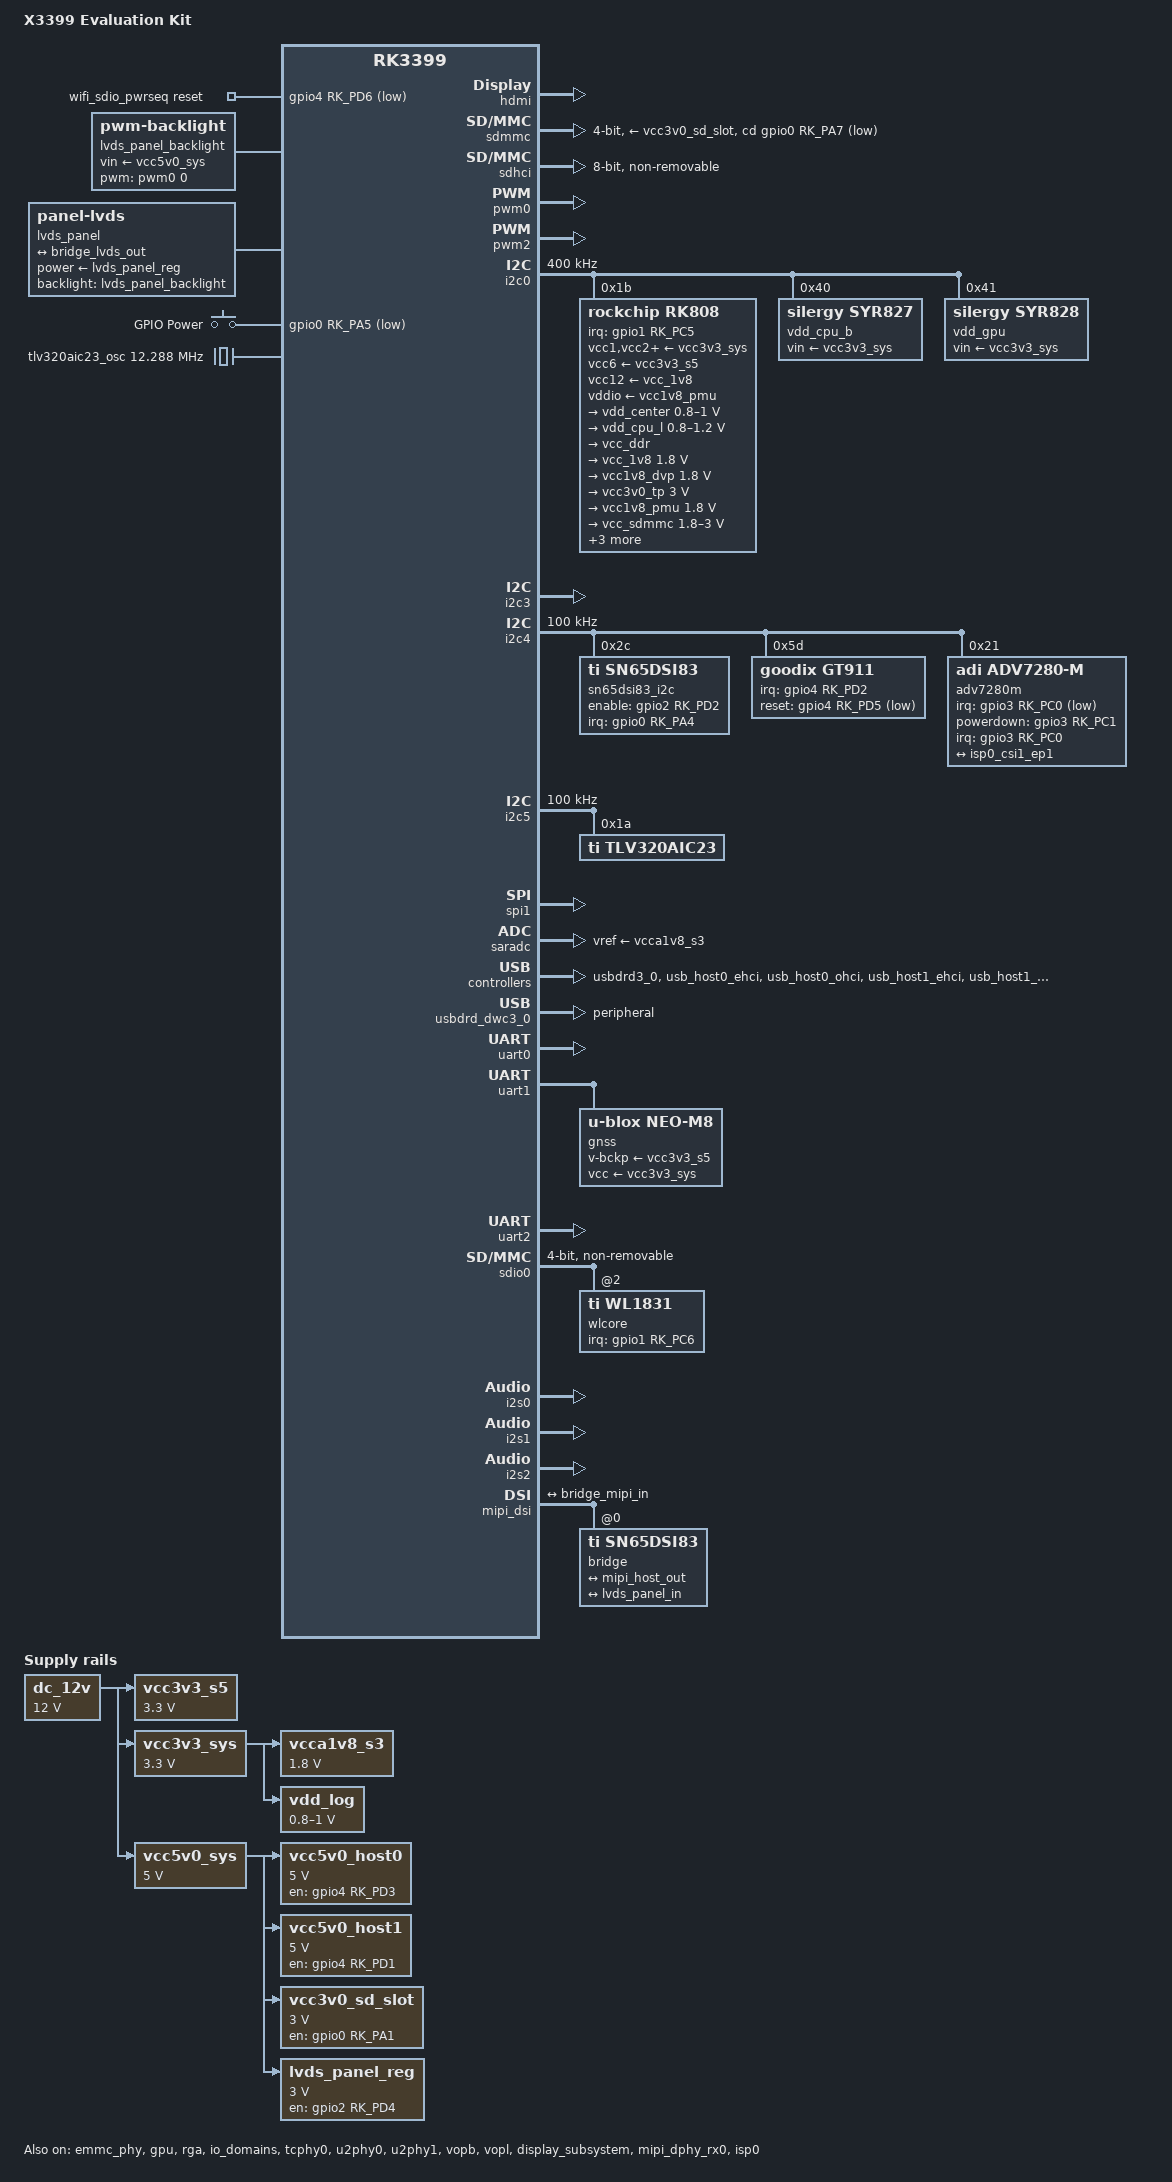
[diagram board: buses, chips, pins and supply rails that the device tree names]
// SPDX-License-Identifier: (GPL-2.0+ OR MIT)
/*
 * Copyright (C) Oleksii Gulchenko <alexey.gulchenko@gmail.com>
 */

/dts-v1/;
#include <dt-bindings/pwm/pwm.h>
#include <dt-bindings/input/input.h>
#include <dt-bindings/display/drm_mipi_dsi.h>

#include "rk3399.dtsi"
#include "rk3399-opp.dtsi"

#include "x3399-evk-android-fstab.dtsi"

/ {
    model = "X3399 Evaluation Kit";
    compatible = "rockchip,x3399-evk", "rockchip,rk3399";

    /* Board input voltage */
    dc_12v: in-12v {
        compatible = "regulator-fixed";
        regulator-name = "IN_12V";
        regulator-always-on;
        regulator-boot-on;
        regulator-min-microvolt = <12000000>;
        regulator-max-microvolt = <12000000>;
    };

    /* Standby supply 3.3v */
    vcc3v3_s5: vcc3v3-s5 {
        compatible = "regulator-fixed";
        regulator-name = "VCC3V3_S5";
        regulator-always-on;
        regulator-boot-on;
        regulator-min-microvolt = <3300000>;
        regulator-max-microvolt = <3300000>;
        vin-supply = <&dc_12v>;
    };

    vcc3v3_sys: vcc3v3-sys {
        compatible = "regulator-fixed";
        regulator-name = "VCC3V3_SYS";
        regulator-always-on;
        regulator-boot-on;
        regulator-min-microvolt = <3300000>;
        regulator-max-microvolt = <3300000>;
        vin-supply = <&dc_12v>;
    };

    vcc5v0_sys: vcc5v0-sys {
        compatible = "regulator-fixed";
        regulator-name = "VCC5V0_SYS";
        regulator-always-on;
        regulator-boot-on;
        regulator-min-microvolt = <5000000>;
        regulator-max-microvolt = <5000000>;
        vin-supply = <&dc_12v>;
    };

    /* switched by pmic_sleep */
    vcca1v8_s3: vcca1v8-s3 {
        compatible = "regulator-fixed";
        regulator-name = "VCCA1V8_S3";
        regulator-always-on;
        regulator-boot-on;
        regulator-min-microvolt = <1800000>;
        regulator-max-microvolt = <1800000>;
        vin-supply = <&vcc3v3_sys>;
    };

    vdd_log: vdd-logic {
        compatible = "pwm-regulator";
        pwms = <&pwm2 0 25000 1>;
        regulator-name = "VDD_LOGIC";
        regulator-always-on;
        regulator-boot-on;
        regulator-min-microvolt = <800000>;
        regulator-max-microvolt = <1000000>;
        vin-supply = <&vcc3v3_sys>;

        /* for rockchip boot on */
        rockchip,pwm_id= <2>;
        rockchip,pwm_voltage = <900000>;
    };

    vcc5v0_host0: usb-host0-5v0-supply {
        compatible = "regulator-fixed";
        regulator-name = "VCC_5V0_USB_HOST0";
        regulator-min-microvolt = <5000000>;
        regulator-max-microvolt = <5000000>;
        gpio = <&gpio4 RK_PD3 GPIO_ACTIVE_HIGH>;
        vin-supply = <&vcc5v0_sys>;
        enable-active-high;
    };

    vcc5v0_host1: usb-host1-5v0-supply {
        compatible = "regulator-fixed";
        regulator-name = "VCC_5V0_USB_HOST1";
        regulator-min-microvolt = <5000000>;
        regulator-max-microvolt = <5000000>;
        gpio = <&gpio4 RK_PD1 GPIO_ACTIVE_HIGH>;
        vin-supply = <&vcc5v0_sys>;
        enable-active-high;
    };

    vcc3v0_sd_slot: sd-card-3v0-supply {
        compatible = "regulator-fixed";
        regulator-name = "VCC_3V0_SDCARD";
        regulator-min-microvolt = <3000000>;
        regulator-max-microvolt = <3000000>;
        gpio = <&gpio0 RK_PA1 GPIO_ACTIVE_HIGH>;
        vin-supply = <&vcc5v0_sys>;
        enable-active-high;
    };

    wifi_sdio_pwrseq: wifi-sdio-pwrseq {
        compatible = "mmc-pwrseq-simple";
        clocks = <&rk808 1>;
        clock-names = "ext_clock";
        pinctrl-names = "default";
        pinctrl-0 = <&wifi_en_gpio>;
        reset-gpios = <&gpio4 RK_PD6 GPIO_ACTIVE_LOW>;
    };

    lvds_panel_reg: lvds-panel-reg {
        compatible = "regulator-fixed";
        regulator-name = "LVDS_PANEL_REG";
        regulator-boot-on;
        regulator-always-on;
        regulator-min-microvolt = <3000000>;
        regulator-max-microvolt = <3000000>;
        gpio = <&gpio2 RK_PD4 GPIO_ACTIVE_HIGH>;
        vin-supply = <&vcc5v0_sys>;
        enable-active-high;
    };

/* ------------------------------------------------------------------ */
    lvds_panel_backlight: lvds-backlight {
        compatible = "pwm-backlight";
        pwms = <&pwm0 0 25000 0>;
        vin-supply = <&vcc5v0_sys>;
        brightness-levels = <
              0   1   2   3   4   5   6   7   8   9  10  11  12  13  14  15
             16  17  18  19  20  21  22  23  24  25  26  27  28  29  30  31
             32  33  34  35  36  37  38  39  40  41  42  43  44  45  46  47
             48  49  50  51  52  53  54  55  56  57  58  59  60  61  62  63
             64  65  66  67  68  69  70  71  72  73  74  75  76  77  78  79
             80  81  82  83  84  85  86  87  88  89  90  91  92  93  94  95
             96  97  98  99 100 101 102 103 104 105 106 107 108 109 110 111
            112 113 114 115 116 117 118 119 120 121 122 123 124 125 126 127
            128 129 130 131 132 133 134 135 136 137 138 139 140 141 142 143
            144 145 146 147 148 149 150 151 152 153 154 155 156 157 158 159
            160 161 162 163 164 165 166 167 168 169 170 171 172 173 174 175
            176 177 178 179 180 181 182 183 184 185 186 187 188 189 190 191
            192 193 194 195 196 197 198 199 200 201 202 203 204 205 206 207
            208 209 210 211 212 213 214 215 216 217 218 219 220 221 222 223
            224 225 226 227 228 229 230 231 232 233 234 235 236 237 238 239
            240 241 242 243 244 245 246 247 248 249 250 251 252 253 254 255>;
        default-brightness-level = <200>;
    };

    lvds_panel {
        compatible = "panel-lvds";
        status = "okay";

        backlight = <&lvds_panel_backlight>;
        power-supply = <&lvds_panel_reg>;

        width-mm = <176>;
        height-mm = <99>;
        data-mapping = "jeida-24";

        panel-timing {
            clock-frequency = <60000000>;
            hactive = <1024>;
            vactive = <600>;
            hback-porch = <160>;
            hfront-porch = <160>;
            vback-porch = <17>;
            vfront-porch = <17>;
            hsync-len = <4>;
            vsync-len = <1>;
            hsync-active = <0>;
            vsync-active = <0>;
            de-active = <1>;
            pixelclk-active = <0>;
        };

        port {
            lvds_panel_in: endpoint {
                remote-endpoint = <&bridge_lvds_out>;
            };
        };
    };

/* ------------------------------------------------------------------ */
    keys: gpio-keys {
        compatible = "gpio-keys";
        autorepeat;

        power {
            debounce-interval = <100>;
            gpios = <&gpio0 RK_PA5 GPIO_ACTIVE_LOW>;
            label = "GPIO Power";
            linux,code = <KEY_POWER>;
            linux,input-type = <1>;
            wakeup-source;
        };
    };

/* ------------------------------------------------------------------ */
    tlv320aic23_osc: tlv320aic23_osc {
        compatible = "fixed-clock";
        clock-frequency = <12288000>;
        clock-output-names = "tlv320aic23";
        #clock-cells = <0>;
    };

    tlv320aic23_sound {
        compatible = "simple-audio-card";
        simple-audio-card,name = "tlv320aic23";
        simple-audio-card,format = "i2s";
        simple-audio-card,frame-master = <&clock_master>;
        simple-audio-card,bitclock-master = <&clock_master>;

        simple-audio-card,widgets =
            "Microphone", "Mic Jack",
            "Headphone", "Headphone Jack";

        simple-audio-card,routing =
            "MICIN", "Mic Jack",
            "Headphone Jack", "LHPOUT",
            "Headphone Jack", "RHPOUT";

        clock_master: simple-audio-card,codec {
            sound-dai = <&tlv320aic23>;
            clocks = <&tlv320aic23_osc>;
        };

        simple-audio-card,cpu {
            sound-dai = <&i2s0>;
        };
    };
};

&cpu_l0 {
    cpu-supply = <&vdd_cpu_l>;
};

&cpu_l1 {
    cpu-supply = <&vdd_cpu_l>;
};

&cpu_l2 {
    cpu-supply = <&vdd_cpu_l>;
};

&cpu_l3 {
    cpu-supply = <&vdd_cpu_l>;
};

&cpu_b0 {
    cpu-supply = <&vdd_cpu_b>;
};

&cpu_b1 {
    cpu-supply = <&vdd_cpu_b>;
};

//&dfi {
//  status = "okay";
//};

//&dmc {
//  status = "okay";
//  center-supply = <&vdd_center>;
//  upthreshold = <60>;
//  downdifferential = <40>;
//};

&emmc_phy {
    status = "okay";
};

&gpu {
    mali-supply = <&vdd_gpu>;
    status = "okay";
};

&rga {
    status = "okay";
};

&hdmi {
    ddc-i2c-bus = <&i2c3>;

    #address-cells = <1>;
    #size-cells = <0>;
    #sound-dai-cells = <0>;
    status = "okay";
};

&sdmmc {
    pinctrl-names = "default";
    pinctrl-0 = <&sdmmc_clk &sdmmc_cmd &sdmmc_bus4 &sdmmc_cd>;

    bus-width = <4>;
    cap-mmc-highspeed;
    cap-sd-highspeed;
    sd-uhs-sdr12;
    sd-uhs-sdr25;
    max-frequency = <25000000>;
    vmmc-supply = <&vcc3v0_sd_slot>;
    vqmmc-supply = <&vcc_sdmmc>;

    cd-gpios = <&gpio0 RK_PA7 GPIO_ACTIVE_LOW>;

    disable-wp;
    status = "okay";
};

&sdhci {
    assigned-clock-rates = <150000000>;
    bus-width = <8>;
    mmc-hs400-1_8v;
    mmc-hs400-enhanced-strobe;
    non-removable;
    status = "okay";
};

&pwm0 {
    status = "okay";
};

&pwm2 {
    status = "okay";
};

&pmu_io_domains {
    status = "okay";

    pmu1830-supply = <&vcc_1v8>;        /* PMUIO2_VDD */
};

&io_domains {
    status = "okay";

    bt656-supply = <&vcc_1v8>;          /* APIO2_VDD */
    audio-supply = <&vcca1v8_codec>;    /* APIO5_VDD */
    sdmmc-supply = <&vcc3v0_sd_slot>;   /* SDMMC0_VDD */
    gpio1830-supply = <&vcc_3v0>;       /* APIO4_VDD */
};

&i2c0 {
    clock-frequency = <400000>;
    i2c-scl-rising-time-ns = <168>;
    i2c-scl-falling-time-ns = <4>;
    status = "okay";

    rk808: pmic@1b {
        compatible = "rockchip,rk808";
        reg = <0x1b>;
        interrupt-parent = <&gpio1>;
        interrupts = <RK_PC5 IRQ_TYPE_LEVEL_LOW>;
        #clock-cells = <1>;
        clock-output-names = "xin32k", "rk808-clkout2";
        pinctrl-names = "default";
        pinctrl-0 = <&pmic_int_l &pmic_dvs2>;
        rockchip,system-power-controller;
        wakeup-source;

        vcc1-supply = <&vcc3v3_sys>;
        vcc2-supply = <&vcc3v3_sys>;
        vcc3-supply = <&vcc3v3_sys>;
        vcc4-supply = <&vcc3v3_sys>;
        vcc6-supply = <&vcc3v3_s5>;
        vcc7-supply = <&vcc3v3_sys>;
        vcc8-supply = <&vcc3v3_sys>;
        vcc9-supply = <&vcc3v3_sys>;
        vcc10-supply = <&vcc3v3_sys>;
        vcc11-supply = <&vcc3v3_sys>;
        vcc12-supply = <&vcc_1v8>;
        vddio-supply = <&vcc1v8_pmu>;

        regulators {
            vdd_center: DCDC_REG1 {
                regulator-name = "VDD_CENTER";
                regulator-always-on;
                regulator-boot-on;
                regulator-min-microvolt = <800000>;
                regulator-max-microvolt = <1000000>;
                regulator-ramp-delay = <6001>;
                regulator-state-mem {
                    regulator-off-in-suspend;
                };
            };

            vdd_cpu_l: DCDC_REG2 {
                regulator-name = "VDD_CPU_L";
                regulator-always-on;
                regulator-boot-on;
                regulator-min-microvolt = <800000>;
                regulator-max-microvolt = <1200000>;
                regulator-ramp-delay = <6001>;
                regulator-state-mem {
                    regulator-off-in-suspend;
                };
            };

            vcc_ddr: DCDC_REG3 {
                regulator-name = "VCC_DDR";
                regulator-always-on;
                regulator-boot-on;
                regulator-state-mem {
                    regulator-on-in-suspend;
                };
            };

            vcc_1v8: DCDC_REG4 {
                regulator-name = "VCC_1V8";
                regulator-always-on;
                regulator-boot-on;
                regulator-min-microvolt = <1800000>;
                regulator-max-microvolt = <1800000>;
                regulator-state-mem {
                    regulator-on-in-suspend;
                    regulator-suspend-microvolt = <1800000>;
                };
            };

            vcc1v8_dvp: LDO_REG1 {
                regulator-name = "VCC_1V8_DVP";
                regulator-always-on;
                regulator-boot-on;
                regulator-min-microvolt = <1800000>;
                regulator-max-microvolt = <1800000>;
                regulator-state-mem {
                    regulator-off-in-suspend;
                };
            };

            vcc3v0_tp: LDO_REG2 {
                regulator-name = "VCC_3V0_TP";
                regulator-always-on;
                regulator-boot-on;
                regulator-min-microvolt = <3000000>;
                regulator-max-microvolt = <3000000>;
                regulator-state-mem {
                    regulator-off-in-suspend;
                };
            };

            vcc1v8_pmu: LDO_REG3 {
                regulator-name = "VCC_1V8_PMU";
                regulator-always-on;
                regulator-boot-on;
                regulator-min-microvolt = <1800000>;
                regulator-max-microvolt = <1800000>;
                regulator-state-mem {
                    regulator-on-in-suspend;
                    regulator-suspend-microvolt = <1800000>;
                };
            };

            vcc_sdmmc: LDO_REG4 {
                regulator-name = "VCC_SDMMC";
                regulator-always-on;
                regulator-boot-on;
                regulator-min-microvolt = <1800000>;
                regulator-max-microvolt = <3000000>;
                regulator-state-mem {
                    regulator-on-in-suspend;
                    regulator-suspend-microvolt = <3000000>;
                };
            };

            vcca3v0_codec: LDO_REG5 {
                regulator-name = "VCCA_3V0_CODEC";
                regulator-always-on;
                regulator-boot-on;
                regulator-min-microvolt = <3000000>;
                regulator-max-microvolt = <3000000>;
                regulator-state-mem {
                    regulator-off-in-suspend;
                };
            };

            vcc_1v5: LDO_REG6 {
                regulator-name = "VCC_1V5";
                regulator-always-on;
                regulator-boot-on;
                regulator-min-microvolt = <1500000>;
                regulator-max-microvolt = <1500000>;
                regulator-state-mem {
                    regulator-on-in-suspend;
                    regulator-suspend-microvolt = <1500000>;
                };
            };

            vcca1v8_codec: LDO_REG7 {
                regulator-name = "VCCA_1V8_CODEC";
                regulator-always-on;
                regulator-boot-on;
                regulator-min-microvolt = <1800000>;
                regulator-max-microvolt = <1800000>;
                regulator-state-mem {
                    regulator-off-in-suspend;
                };
            };

            vcc_3v0: LDO_REG8 {
                regulator-name = "VCC_3V0";
                regulator-always-on;
                regulator-boot-on;
                regulator-min-microvolt = <3000000>;
                regulator-max-microvolt = <3000000>;
                regulator-state-mem {
                    regulator-on-in-suspend;
                    regulator-suspend-microvolt = <3000000>;
                };
            };

            vcc3v3_s3: vcc_lan: SWITCH_REG1 {
                regulator-name = "VCC_3V3_S3";
                regulator-always-on;
                regulator-boot-on;
                regulator-state-mem {
                    regulator-off-in-suspend;
                };
            };

            vcc3v3_s0: SWITCH_REG2 {
                regulator-name = "VCC_3V3_S0";
                regulator-always-on;
                regulator-boot-on;
                regulator-state-mem {
                    regulator-off-in-suspend;
                };
            };
        };
    };

    vdd_cpu_b: regulator@40 {
        compatible = "silergy,syr827";
        reg = <0x40>;
        fcs,suspend-voltage-selector = <1>;
        regulator-name = "VDD_CPU_B";
        regulator-min-microvolt = <800000>;
        regulator-max-microvolt = <1250000>;
        regulator-ramp-delay = <1000>;
        regulator-always-on;
        regulator-boot-on;
        vin-supply = <&vcc3v3_sys>;

        regulator-state-mem {
            regulator-off-in-suspend;
        };
    };

    vdd_gpu: regulator@41 {
        compatible = "silergy,syr828";
        reg = <0x41>;
        fcs,suspend-voltage-selector = <1>;
        regulator-name = "VDD_GPU";
        regulator-min-microvolt = <800000>;
        regulator-max-microvolt = <1200000>;
        regulator-ramp-delay = <1000>;
        regulator-always-on;
        regulator-boot-on;
        vin-supply = <&vcc3v3_sys>;

        regulator-state-mem {
            regulator-off-in-suspend;
        };
    };
};

&i2c3 {
    status = "okay";
};

&i2c4 {
    status = "okay";
    clock-frequency = <100000>;

    sn65dsi83_i2c: dsi-lvds-bridge@2c {
        compatible = "ti,sn65dsi83";
        reg = <0x2c>;
        enable-gpios = <&gpio2 RK_PD2 GPIO_ACTIVE_HIGH>;
        interrupt-parent = <&gpio0>;
        interrupts = <RK_PA4 IRQ_TYPE_EDGE_RISING>;
    };

    gt911@5d {
        compatible = "goodix,gt911";
        reg = <0x5d>;

        pinctrl-names = "default";
        pinctrl-0 = <&gt911_reset_gpio>;

        interrupt-parent = <&gpio4>;
        interrupts = <RK_PD2 IRQ_TYPE_EDGE_RISING>;
        irq-gpios = <&gpio4 RK_PD2 GPIO_ACTIVE_HIGH>;
        reset-gpio = <&gpio4 RK_PD5 GPIO_ACTIVE_LOW>;
    };

    adv7280m@21 {
        compatible = "adi,adv7280-m";
        reg = <0x21>;

        pinctrl-names = "default";
        pinctrl-0 = <&adv7280_en_gpio>;

        interrupt-parent = <&gpio3>;
        interrupts = <RK_PC0 IRQ_TYPE_EDGE_FALLING>;
        irq-gpios = <&gpio3 RK_PC0 GPIO_ACTIVE_LOW>;
        powerdown-gpios = <&gpio3 RK_PC1 GPIO_ACTIVE_HIGH>;

        port {
            adv7280m_out: endpoint {
                clock-lanes = <0>;
                data-lanes = <1>;
                remote-endpoint = <&isp0_csi1_ep1>;
            };
        };
    };
};

&i2c5 {
    status = "okay";
    clock-frequency = <100000>;

    tlv320aic23: codec@1a {
        compatible = "ti,tlv320aic23";
        reg = <0x1a>;
        #sound-dai-cells= <0>;
        status = "okay";
    };
};

&pinctrl {
    pmic {
        pmic_int_l: pmic-int-l {
            rockchip,pins = <1 RK_PC5 RK_FUNC_GPIO &pcfg_pull_up>;
        };

        pmic_dvs2: pmic-dvs2 {
            rockchip,pins = <1 RK_PC2 RK_FUNC_GPIO &pcfg_pull_down>;
        };

        vsel1_gpio: vsel1-gpio {
            rockchip,pins = <1 RK_PC1 RK_FUNC_GPIO &pcfg_pull_down>;
        };

        vsel2_gpio: vsel2-gpio {
            rockchip,pins = <1 RK_PB6 RK_FUNC_GPIO &pcfg_pull_down>;
        };
    };

    wireless {
        wifi_en_gpio: wifi-en-gpio {
            rockchip,pins = <4 RK_PD6 GPIO_ACTIVE_HIGH &pcfg_pull_none>;
        };

        bt_en_gpio: bt-en-gpio {
            rockchip,pins = <4 RK_PD4 GPIO_ACTIVE_HIGH &pcfg_pull_none>;
        };

        wlan_host_wake_irq: wlan-host-wake-irq {
            rockchip,pins = <1 RK_PC6 RK_FUNC_GPIO &pcfg_pull_none>;
        };
    };

    display {
        lvds_en_gpio: lvds-en-gpio {
            rockchip,pins = <2 RK_PD4 GPIO_ACTIVE_HIGH &pcfg_pull_down>;
        };

        sn65dsi83_en_gpio: sn65dsi83-en-gpio {
            rockchip,pins = <2 RK_PD2 GPIO_ACTIVE_HIGH &pcfg_pull_down>;
        };
    };

    sdcard {
        vcc3v0_sd_gpio: vcc3v0-sd-gpio {
            rockchip,pins = <0 RK_PA1 GPIO_ACTIVE_HIGH &pcfg_pull_down>;
        };
    };

    touchscreen {
        gt911_reset_gpio: gt911-reset-gpio {
            rockchip,pins = <4 RK_PD5 GPIO_ACTIVE_LOW &pcfg_pull_up>;
        };
    };

    usb_hosts {
        vcc5v0_host0_gpio: vcc5v0-host0-gpio {
            rockchip,pins = <4 RK_PD3 GPIO_ACTIVE_HIGH &pcfg_pull_down>;
        };

        vcc5v0_host1_gpio: vcc5v0-host1-gpio {
            rockchip,pins = <4 RK_PD1 GPIO_ACTIVE_HIGH &pcfg_pull_down>;
        };
    };

    adv7280 {
        adv7280_en_gpio: adv7280-en-gpio {
            rockchip,pins = <3 RK_PC1 GPIO_ACTIVE_HIGH &pcfg_pull_down>;
        };
    };
};

&spi1 {
    status = "okay";
};

&saradc {
    vref-supply = <&vcca1v8_s3>;
    status = "okay";
};

/* USB -------------------------------------------------------------- */
&usbdrd3_0 {
    status = "okay";
};

&usbdrd_dwc3_0 {
    dr_mode = "peripheral";
    status = "okay";
};

&tcphy0 {
    status = "okay";
};

&u2phy0 {
    status = "okay";

    u2phy0_host: host-port {
        phy-supply = <&vcc5v0_host0>;
        status = "okay";
    };
};

&u2phy1 {
    status = "okay";

    u2phy1_host: host-port {
        phy-supply = <&vcc5v0_host1>;
        status = "okay";
    };
};

&usb_host0_ehci {
    status = "okay";
};

&usb_host0_ohci {
    status = "okay";
};

&usb_host1_ehci {
    status = "okay";
};

&usb_host1_ohci {
    status = "okay";
};

/* VOPx  ------------------------------------------------------------ */
&vopb {
    status = "okay";
};

&vopb_mmu {
    status = "okay";
};

&vopl {
    status = "okay";
};

&vopl_mmu {
    status = "okay";
};

&vpu_mmu {
    status = "okay";
};

/* UART -------------------------------------------------------------- */
&uart0 {
    pinctrl-names = "default";
    pinctrl-0 = <&uart0_xfer &uart0_rts &uart0_cts>;
    status = "okay";
};

&uart1 {
    pinctrl-names = "default";
    pinctrl-0 = <&uart1_xfer>;
    status = "okay";

    gnss {
        compatible = "u-blox,neo-m8";
        current-speed = <9600>;
        v-bckp-supply = <&vcc3v3_s5>;
        vcc-supply = <&vcc3v3_sys>;
    };
};

&uart2 {
    status = "okay";
};

/* SDIO -------------------------------------------------------------- */
&sdio0 {
    status = "okay";

    #address-cells = <1>;
    #size-cells = <0>;

    mmc-pwrseq = <&wifi_sdio_pwrseq>;

    pinctrl-names = "default";
    pinctrl-0 = <&sdio0_bus4 &sdio0_cmd &sdio0_clk>;

    bus-width = <4>;
    cap-sdio-irq;
    cap-sd-highspeed;
    cap-power-off-card;
    keep-power-in-suspend;
    non-removable;
    broken-cd;
    no-sd;
    no-mmc;
    disable-wp;

    clock-frequency = <52000000>;

    wlcore: wlcore@0 {
        compatible = "ti,wl1831";
        reg = <2>;
        interrupt-parent = <&gpio1>;
        interrupts = <RK_PC6 IRQ_TYPE_EDGE_RISING>;
        interrupt-names = "wlan-host-wake";
        pinctrl-names = "default";
        pinctrl-0 = <&wlan_host_wake_irq>;
    };
};

/* I2S -------------------------------------------------------------- */
&i2s0 {
    #sound-dai-cells = <0>;
    status = "okay";

    pinctrl-names = "default";
    pinctrl-0 = <&i2s0_8ch_bus>;

    rockchip,playback-channels = <2>;
    rockchip,capture-channels = <2>;
};

&i2s1 {
    #sound-dai-cells = <0>;
    status = "okay";
};

&i2s2 {
    #sound-dai-cells = <0>;
    status = "okay";
};

/* ------------------------------------------------------------------ */
&display_subsystem {
    status = "okay";

    route {
        route_hdmi: route-hdmi {
            connect = <&vopb_out_hdmi>;
        };

        route_mipi: route-mipi {
            connect = <&vopb_out_mipi>;
        };
    };
};

&mipi_dsi {
    status = "okay";

    ports {
        mipi_out: port@1 {
            reg = <1>;
            #address-cells = <1>;
            #size-cells = <0>;

            mipi_host_out: endpoint {
                remote-endpoint = <&bridge_mipi_in>;
            };
        };
    };

    bridge {
        compatible ="ti,sn65dsi83";
        reg = <0>;

        dsi,flags = <(MIPI_DSI_MODE_VIDEO | MIPI_DSI_MODE_VIDEO_BURST |
                      MIPI_DSI_MODE_VIDEO_SYNC_PULSE)>;
        dsi,format = <MIPI_DSI_FMT_RGB888>;
        dsi,lanes = <4>;

        i2c,client = <&sn65dsi83_i2c>;

        ports {
            #address-cells = <1>;
            #size-cells = <0>;

            bridge_in: port@0 {
                reg = <0>;
                #address-cells = <1>;
                #size-cells = <0>;

                bridge_mipi_in: endpoint {
                    remote-endpoint = <&mipi_host_out>;
                };
            };

            bridge_out: port@1 {
                reg = <1>;
                #address-cells = <1>;
                #size-cells = <0>;

                bridge_lvds_out: endpoint {
                    remote-endpoint = <&lvds_panel_in>;
                };
            };
        };
    };
};

/* ------------------------------------------------------------------ */
&mipi_dphy_rx0 {
    status = "okay";
};

&isp0 {
    status = "okay";

    ports {
        port@0 {
            isp0_csi1_ep1: endpoint@1 {
                reg = <1>;
                remote-endpoint = <&adv7280m_out>;
                clock-lanes = <0>;
                data-lanes = <1>;
            };
        };
    };
};
